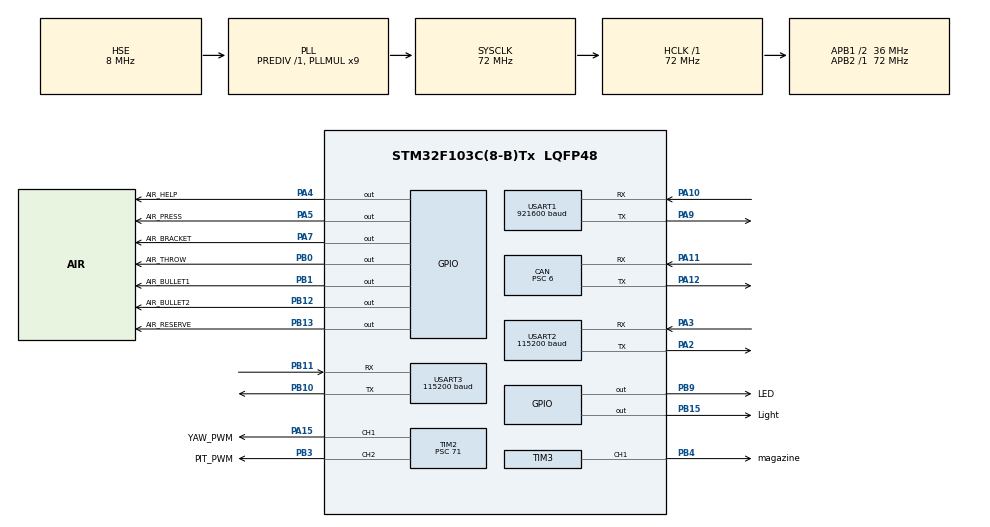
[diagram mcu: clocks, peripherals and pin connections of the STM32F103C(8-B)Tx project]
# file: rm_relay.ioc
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CAN.ABOM=DISABLE
CAN.BS1=CAN_BS1_3TQ
CAN.BS2=CAN_BS2_2TQ
CAN.CalculateTimeBit=1000
CAN.CalculateTimeQuantum=166.66666666666669
CAN.Prescaler=6
Dma.Request0=USART1_RX
Dma.Request1=USART2_RX
Dma.Request2=USART3_RX
Dma.USART1_RX.0.Direction=DMA_PERIPH_TO_MEMORY
Dma.USART1_RX.0.Instance=DMA1_Channel5
Dma.USART1_RX.0.MemDataAlignment=DMA_MDATAALIGN_BYTE
Dma.USART1_RX.0.MemInc=DMA_MINC_ENABLE
Dma.USART1_RX.0.Mode=DMA_NORMAL
Dma.USART1_RX.0.PeriphDataAlignment=DMA_PDATAALIGN_BYTE
Dma.USART1_RX.0.PeriphInc=DMA_PINC_DISABLE
Dma.USART1_RX.0.Priority=DMA_PRIORITY_LOW
Dma.USART2_RX.1.Direction=DMA_PERIPH_TO_MEMORY
Dma.USART2_RX.1.Instance=DMA1_Channel6
Dma.USART2_RX.1.MemDataAlignment=DMA_MDATAALIGN_BYTE
Dma.USART2_RX.1.MemInc=DMA_MINC_ENABLE
Dma.USART2_RX.1.Mode=DMA_NORMAL
Dma.USART2_RX.1.PeriphDataAlignment=DMA_PDATAALIGN_BYTE
Dma.USART2_RX.1.PeriphInc=DMA_PINC_DISABLE
Dma.USART2_RX.1.Priority=DMA_PRIORITY_LOW
Dma.USART3_RX.2.Direction=DMA_PERIPH_TO_MEMORY
Dma.USART3_RX.2.Instance=DMA1_Channel3
Dma.USART3_RX.2.MemDataAlignment=DMA_MDATAALIGN_BYTE
Dma.USART3_RX.2.MemInc=DMA_MINC_ENABLE
Dma.USART3_RX.2.Mode=DMA_NORMAL
Dma.USART3_RX.2.PeriphDataAlignment=DMA_PDATAALIGN_BYTE
Dma.USART3_RX.2.PeriphInc=DMA_PINC_DISABLE
Dma.USART3_RX.2.Priority=DMA_PRIORITY_LOW
FREERTOS.INCLUDE_vTaskDelayUntil=1
FREERTOS.Tasks01=defaultTask,0,128,StartDefaultTask,Default,NULL,Dynamic,NULL,NULL;gas_task_id,0,128,gas_task,As external,NULL,Dynamic,NULL,NULL;view_task_id,0,256,view_task,As external,NULL,Dynamic,NULL,NULL;relay_commun_id,0,128,relay_commun_task,As external,NULL,Dynamic,NULL,NULL
FREERTOS.configTOTAL_HEAP_SIZE=12800
FREERTOS.configUSE_TIMERS=1
Mcu.Family=STM32F1
Mcu.Name=STM32F103C(8-B)Tx
Mcu.Package=LQFP48
NVIC.DMA1_Channel3_IRQn=true\:5\:0\:false\:false\:true\:true\:false\:true
NVIC.DMA1_Channel5_IRQn=true\:5\:0\:false\:false\:true\:true\:false\:true
NVIC.DMA1_Channel6_IRQn=true\:5\:0\:false\:false\:true\:true\:false\:true
NVIC.PriorityGroup=NVIC_PRIORITYGROUP_4
NVIC.TIM1_UP_IRQn=true\:0\:0\:false\:false\:true\:false\:false\:true
NVIC.TimeBase=TIM1_UP_IRQn
NVIC.TimeBaseIP=TIM1
NVIC.USART1_IRQn=true\:5\:0\:false\:false\:true\:true\:true\:true
NVIC.USART2_IRQn=true\:5\:0\:false\:false\:true\:true\:true\:true
NVIC.USART3_IRQn=true\:5\:0\:false\:false\:true\:true\:true\:true
NVIC.USB_LP_CAN1_RX0_IRQn=true\:5\:0\:false\:false\:true\:true\:true\:true
PA10.Mode=Asynchronous
PA10.Signal=USART1_RX
PA11.Mode=Master
PA11.Signal=CAN_RX
PA12.Mode=Master
PA12.Signal=CAN_TX
PA13.Mode=Serial_Wire
PA13.Signal=SYS_JTMS-SWDIO
PA14.Mode=Serial_Wire
PA14.Signal=SYS_JTCK-SWCLK
PA15.GPIO_Label=YAW_PWM
PA15.Signal=S_TIM2_CH1_ETR
PA2.Mode=Asynchronous
PA2.Signal=USART2_TX
PA3.Mode=Asynchronous
PA3.Signal=USART2_RX
PA4.GPIO_Label=AIR_HELP
PA4.Signal=GPIO_Output
PA5.GPIO_Label=AIR_PRESS
PA5.Signal=GPIO_Output
PA7.GPIO_Label=AIR_BRACKET
PA7.Signal=GPIO_Output
PA9.Mode=Asynchronous
PA9.Signal=USART1_TX
PB0.GPIO_Label=AIR_THROW
PB0.Signal=GPIO_Output
PB1.GPIO_Label=AIR_BULLET1
PB1.Signal=GPIO_Output
PB10.Mode=Asynchronous
PB10.Signal=USART3_TX
PB11.Mode=Asynchronous
PB11.Signal=USART3_RX
PB12.GPIO_Label=AIR_BULLET2
PB12.Signal=GPIO_Output
PB13.GPIO_Label=AIR_RESERVE
PB13.Signal=GPIO_Output
PB15.GPIO_Label=Light
PB15.PinState=GPIO_PIN_SET
PB15.Signal=GPIO_Output
PB3.GPIO_Label=PIT_PWM
PB3.Signal=S_TIM2_CH2
PB4.GPIO_Label=magazine
PB4.Signal=S_TIM3_CH1
PB9.GPIO_Label=LED
PB9.Signal=GPIO_Output
PD0-OSC_IN.Mode=HSE-External-Oscillator
PD0-OSC_IN.Signal=RCC_OSC_IN
PD1-OSC_OUT.Mode=HSE-External-Oscillator
PD1-OSC_OUT.Signal=RCC_OSC_OUT
ProjectManager.HeapSize=0x200
ProjectManager.StackSize=0x400
ProjectManager.TargetToolchain=MDK-ARM V5
RCC.AHBFreq_Value=72000000
RCC.APB1CLKDivider=RCC_HCLK_DIV2
RCC.APB1Freq_Value=36000000
RCC.APB1TimFreq_Value=72000000
RCC.APB2Freq_Value=72000000
RCC.APB2TimFreq_Value=72000000
RCC.HCLKFreq_Value=72000000
RCC.PLLMUL=RCC_PLL_MUL9
RCC.PLLSourceVirtual=RCC_PLLSOURCE_HSE
RCC.SYSCLKFreq_VALUE=72000000
RCC.SYSCLKSource=RCC_SYSCLKSOURCE_PLLCLK
RCC.USBFreq_Value=72000000
SH.S_TIM2_CH1_ETR.0=TIM2_CH1,PWM Generation1 CH1
SH.S_TIM2_CH2.0=TIM2_CH2,PWM Generation2 CH2
SH.S_TIM3_CH1.0=TIM3_CH1,PWM Generation1 CH1
TIM2.AutoReloadPreload=TIM_AUTORELOAD_PRELOAD_ENABLE
TIM2.Channel-PWM\ Generation1\ CH1=TIM_CHANNEL_1
TIM2.Channel-PWM\ Generation2\ CH2=TIM_CHANNEL_2
TIM2.Period=19999
TIM2.Prescaler=71
TIM2.Pulse-PWM\ Generation1\ CH1=1480
TIM2.Pulse-PWM\ Generation2\ CH2=1145
TIM3.AutoReloadPreload=TIM_AUTORELOAD_PRELOAD_ENABLE
TIM3.Channel-PWM\ Generation1\ CH1=TIM_CHANNEL_1
TIM3.Period=19999
TIM3.Prescaler=71
TIM3.Pulse-PWM\ Generation1\ CH1=1200
USART1.BaudRate=921600
USART1.VirtualMode=VM_ASYNC
USART2.BaudRate=115200
USART2.VirtualMode=VM_ASYNC
USART3.BaudRate=115200
USART3.VirtualMode=VM_ASYNC
VP_FREERTOS_VS_CMSIS_V1.Mode=CMSIS_V1
VP_SYS_VS_tim1.Mode=TIM1
VP_TIM2_VS_ClockSourceINT.Mode=Internal
VP_TIM3_VS_ClockSourceINT.Mode=Internal
board=custom

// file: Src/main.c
/* USER CODE BEGIN Header */
/**
  ******************************************************************************
  * @file           : main.c
  * @brief          : Main program body
  ******************************************************************************
  * @attention
  *
  * <h2><center>&copy; Copyright (c) 2020 STMicroelectronics.
  * All rights reserved.</center></h2>
  *
  * This software component is licensed by ST under Ultimate Liberty license
  * SLA0044, the "License"; You may not use this file except in compliance with
  * the License. You may obtain a copy of the License at:
  *                             www.st.com/SLA0044
  *
  ******************************************************************************
  */
/* USER CODE END Header */

#include "main.h"
#include "cmsis_os.h"
#include "can.h"
#include "dma.h"
#include "tim.h"
#include "usart.h"
#include "gpio.h"

/* USER CODE BEGIN Includes */
#include "bsp_uart.h"
#include "bsp_can.h"
#include "can.h"
#include "rotate_task.h"
/* USER CODE END Includes */

void SystemClock_Config(void);
void MX_FREERTOS_Init(void);
/* USER CODE BEGIN PFP */
void 	BSP_init(void);
/* USER CODE END PFP */

int main(void)
{

  /* MCU Configuration--------------------------------------------------------*/

  /* Reset of all peripherals, Initializes the Flash interface and the Systick. */
  HAL_Init();

  /* Configure the system clock */
  SystemClock_Config();

  /* Initialize all configured peripherals */
  MX_GPIO_Init();
  MX_DMA_Init();
  MX_USART1_UART_Init();
  MX_USART2_UART_Init();
  MX_USART3_UART_Init();
  MX_CAN_Init();
  MX_TIM2_Init();
  MX_TIM3_Init();
  /* USER CODE BEGIN 2 */
	BSP_init();
  /* USER CODE END 2 */

  /* Call init function for freertos objects (in freertos.c) */
  MX_FREERTOS_Init();

  /* Start scheduler */
  osKernelStart();

  /* We should never get here as control is now taken by the scheduler */

  /* Infinite loop */
  while (1)
  {

  }
}

void SystemClock_Config(void)
{
  RCC_OscInitTypeDef RCC_OscInitStruct = {0};
  RCC_ClkInitTypeDef RCC_ClkInitStruct = {0};

  /** Initializes the CPU, AHB and APB busses clocks
  */
  RCC_OscInitStruct.OscillatorType = RCC_OSCILLATORTYPE_HSE;
  RCC_OscInitStruct.HSEState = RCC_HSE_ON;
  RCC_OscInitStruct.HSEPredivValue = RCC_HSE_PREDIV_DIV1;
  RCC_OscInitStruct.HSIState = RCC_HSI_ON;
  RCC_OscInitStruct.PLL.PLLState = RCC_PLL_ON;
  RCC_OscInitStruct.PLL.PLLSource = RCC_PLLSOURCE_HSE;
  RCC_OscInitStruct.PLL.PLLMUL = RCC_PLL_MUL9;
  if (HAL_RCC_OscConfig(&RCC_OscInitStruct) != HAL_OK)
  {
    Error_Handler();
  }
  /** Initializes the CPU, AHB and APB busses clocks
  */
  RCC_ClkInitStruct.ClockType = RCC_CLOCKTYPE_HCLK|RCC_CLOCKTYPE_SYSCLK
                              |RCC_CLOCKTYPE_PCLK1|RCC_CLOCKTYPE_PCLK2;
  RCC_ClkInitStruct.SYSCLKSource = RCC_SYSCLKSOURCE_PLLCLK;
  RCC_ClkInitStruct.AHBCLKDivider = RCC_SYSCLK_DIV1;
  RCC_ClkInitStruct.APB1CLKDivider = RCC_HCLK_DIV2;
  RCC_ClkInitStruct.APB2CLKDivider = RCC_HCLK_DIV1;

  if (HAL_RCC_ClockConfig(&RCC_ClkInitStruct, FLASH_LATENCY_2) != HAL_OK)
  {
    Error_Handler();
  }
}

/* USER CODE BEGIN 4 */
void BSP_init()
{
	HAL_Delay(2000);

	user_uart_init();
	can_device_init();
	HAL_TIM_PWM_Start(&htim2,TIM_CHANNEL_1);
	HAL_TIM_PWM_Start(&htim2,TIM_CHANNEL_2);
	HAL_TIM_PWM_Start(&htim3,TIM_CHANNEL_1);
	rotate_init();
}
/* USER CODE END 4 */

void HAL_TIM_PeriodElapsedCallback(TIM_HandleTypeDef *htim)
{
  if (htim->Instance == TIM1) {
    HAL_IncTick();
  }
}

void Error_Handler(void)
{
}

/************************ (C) COPYRIGHT STMicroelectronics *****END OF FILE****/

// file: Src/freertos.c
/* USER CODE BEGIN Header */
/**
  ******************************************************************************
  * File Name          : freertos.c
  * Description        : Code for freertos applications
  ******************************************************************************
  * @attention
  *
  * <h2><center>&copy; Copyright (c) 2020 STMicroelectronics.
  * All rights reserved.</center></h2>
  *
  * This software component is licensed by ST under Ultimate Liberty license
  * SLA0044, the "License"; You may not use this file except in compliance with
  * the License. You may obtain a copy of the License at:
  *                             www.st.com/SLA0044
  *
  ******************************************************************************
  */
/* USER CODE END Header */

#include "FreeRTOS.h"
#include "task.h"
#include "main.h"
#include "cmsis_os.h"

/* USER CODE BEGIN Includes */
#include "stm32f1xx_hal.h"
#include "gas_task.h"
#include "view_task.h"
#include "tim.h"
#include "rotate_task.h"
/* USER CODE END Includes */

/* USER CODE BEGIN PD */
volatile int yaw_value=1480;
volatile int pitch_value=1150;
/* USER CODE END PD */

/* USER CODE BEGIN Variables */
osTimerId	rotate_timer_id;
/* USER CODE END Variables */
osThreadId defaultTaskHandle;
osThreadId gas_task_idHandle;
osThreadId view_task_idHandle;
osThreadId relay_commun_idHandle;

void StartDefaultTask(void const * argument);
extern void gas_task(void const * argument);
extern void view_task(void const * argument);
extern void relay_commun_task(void const * argument);

void MX_FREERTOS_Init(void); /* (MISRA C 2004 rule 8.1) */

void MX_FREERTOS_Init(void) {

  /* USER CODE BEGIN RTOS_TIMERS */
  /* start timers, add new ones, ... */
	taskENTER_CRITICAL();
	osTimerDef(rotateTimer, rotate_task);
  rotate_timer_id = osTimerCreate(osTimer(rotateTimer), osTimerPeriodic, NULL);

  /* USER CODE END RTOS_TIMERS */

  /* Create the thread(s) */
  /* definition and creation of defaultTask */
  osThreadDef(defaultTask, StartDefaultTask, osPriorityNormal, 0, 128);
  defaultTaskHandle = osThreadCreate(osThread(defaultTask), NULL);

  /* definition and creation of gas_task_id */
  osThreadDef(gas_task_id, gas_task, osPriorityNormal, 0, 128);
  gas_task_idHandle = osThreadCreate(osThread(gas_task_id), NULL);

  /* definition and creation of view_task_id */
  osThreadDef(view_task_id, view_task, osPriorityNormal, 0, 256);
  view_task_idHandle = osThreadCreate(osThread(view_task_id), NULL);

  /* definition and creation of relay_commun_id */
  osThreadDef(relay_commun_id, relay_commun_task, osPriorityNormal, 0, 128);
  relay_commun_idHandle = osThreadCreate(osThread(relay_commun_id), NULL);

}

void StartDefaultTask(void const * argument)
{
  /* USER CODE BEGIN StartDefaultTask */
//		osTimerStart(rotate_timer_id,ROTATE_PERIOD);
  /* Infinite loop */
  for(;;)
  {
		HAL_GPIO_TogglePin(GPIOB,GPIO_PIN_15);
		osDelay(500);
  }
  /* USER CODE END StartDefaultTask */
}

/************************ (C) COPYRIGHT STMicroelectronics *****END OF FILE****/
